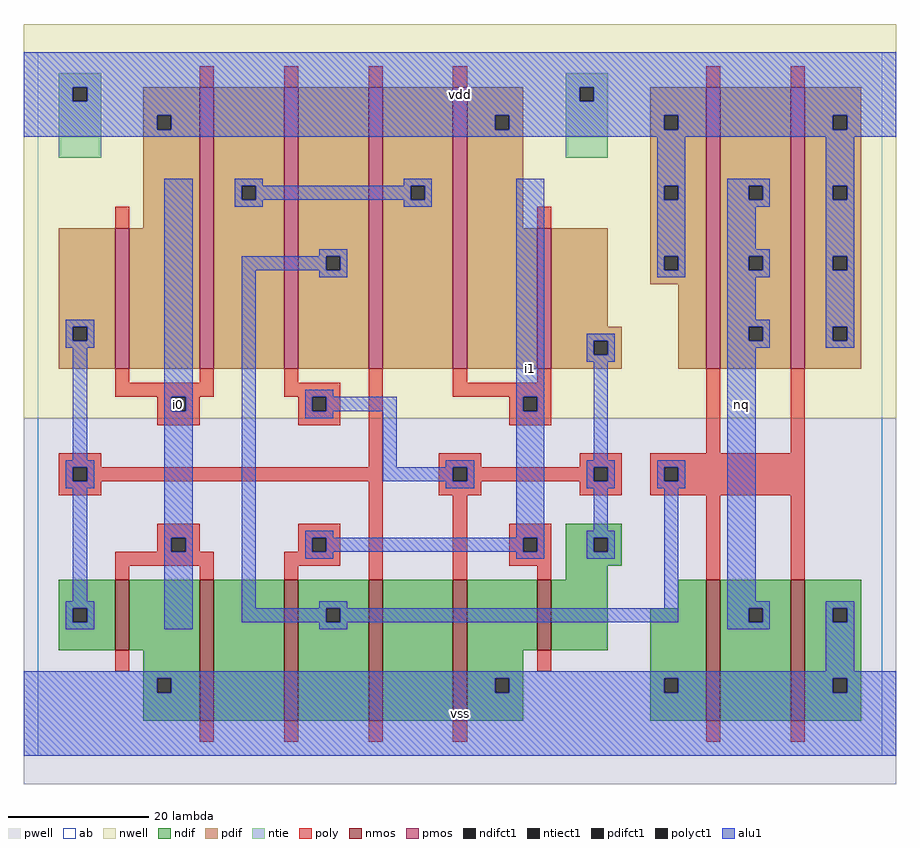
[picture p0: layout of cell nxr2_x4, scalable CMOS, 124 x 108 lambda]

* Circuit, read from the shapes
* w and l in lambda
.subckt nxr2_x4 i0 i1 nq vdd vss
M1 vss i0 n1 VSUBS nfet w=10 l=2
M2 n2 i0 vss VSUBS nfet w=20 l=2
M3 n3 i1 n2 VSUBS nfet w=20 l=2
M4 n4 n1 n3 VSUBS nfet w=20 l=2
M5 vss n5 n4 VSUBS nfet w=20 l=2
M6 n5 i1 vss VSUBS nfet w=10 l=2
M7 nq n3 vss VSUBS nfet w=20 l=2 m=2
M8 vdd i0 n1 vdd pfet w=20 l=2
M9 n6 i0 vdd vdd pfet w=40 l=2
M10 n3 n5 n6 vdd pfet w=40 l=2
M11 n6 n1 n3 vdd pfet w=40 l=2
M12 vdd i1 n6 vdd pfet w=40 l=2
M13 n5 i1 vdd vdd pfet w=20 l=2
M14 nq n3 vdd vdd pfet w=40 l=2 m=2
.ends

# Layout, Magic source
magic
tech scmos
<< ab >>
rect 0 0 120 100
<< nwell >>
rect -2 48 122 104
<< pwell >>
rect -2 -4 122 48
<< poly >>
rect 23 95 25 98
rect 35 95 37 98
rect 47 95 49 98
rect 59 95 61 98
rect 95 95 97 98
rect 107 95 109 98
rect 11 75 13 78
rect 71 75 73 78
rect 11 53 13 55
rect 23 53 25 55
rect 11 51 25 53
rect 35 53 37 55
rect 35 51 43 53
rect 17 49 19 51
rect 21 49 23 51
rect 17 47 23 49
rect 37 49 39 51
rect 41 49 43 51
rect 37 47 43 49
rect 3 41 9 43
rect 47 41 49 55
rect 59 53 61 55
rect 71 53 73 55
rect 59 51 73 53
rect 67 49 69 51
rect 71 49 73 51
rect 67 47 73 49
rect 95 43 97 55
rect 107 43 109 55
rect 3 39 5 41
rect 7 39 49 41
rect 3 37 9 39
rect 17 31 23 33
rect 17 29 19 31
rect 21 29 23 31
rect 37 31 43 33
rect 37 29 39 31
rect 41 29 43 31
rect 11 27 25 29
rect 11 25 13 27
rect 23 25 25 27
rect 35 27 43 29
rect 35 25 37 27
rect 47 25 49 39
rect 57 41 63 43
rect 77 41 83 43
rect 57 39 59 41
rect 61 39 79 41
rect 81 39 83 41
rect 57 37 63 39
rect 77 37 83 39
rect 87 41 109 43
rect 87 39 89 41
rect 91 39 109 41
rect 87 37 109 39
rect 59 25 61 37
rect 67 31 73 33
rect 67 29 69 31
rect 71 29 73 31
rect 67 27 73 29
rect 71 25 73 27
rect 95 25 97 37
rect 107 25 109 37
rect 11 12 13 15
rect 71 12 73 15
rect 23 2 25 5
rect 35 2 37 5
rect 47 2 49 5
rect 59 2 61 5
rect 95 2 97 5
rect 107 2 109 5
<< ndif >>
rect 75 31 83 33
rect 75 29 79 31
rect 81 29 83 31
rect 75 27 83 29
rect 75 25 81 27
rect 3 21 11 25
rect 3 19 5 21
rect 7 19 11 21
rect 3 15 11 19
rect 13 15 23 25
rect 15 11 23 15
rect 15 9 17 11
rect 19 9 23 11
rect 15 5 23 9
rect 25 5 35 25
rect 37 21 47 25
rect 37 19 41 21
rect 43 19 47 21
rect 37 5 47 19
rect 49 5 59 25
rect 61 15 71 25
rect 73 15 81 25
rect 91 21 95 25
rect 61 11 69 15
rect 61 9 65 11
rect 67 9 69 11
rect 61 5 69 9
rect 87 11 95 21
rect 87 9 89 11
rect 91 9 95 11
rect 87 5 95 9
rect 97 21 107 25
rect 97 19 101 21
rect 103 19 107 21
rect 97 5 107 19
rect 109 21 117 25
rect 109 19 113 21
rect 115 19 117 21
rect 109 11 117 19
rect 109 9 113 11
rect 115 9 117 11
rect 109 5 117 9
<< pdif >>
rect 15 91 23 95
rect 15 89 17 91
rect 19 89 23 91
rect 15 75 23 89
rect 3 61 11 75
rect 3 59 5 61
rect 7 59 11 61
rect 3 55 11 59
rect 13 55 23 75
rect 25 81 35 95
rect 25 79 29 81
rect 31 79 35 81
rect 25 55 35 79
rect 37 71 47 95
rect 37 69 41 71
rect 43 69 47 71
rect 37 55 47 69
rect 49 81 59 95
rect 49 79 53 81
rect 55 79 59 81
rect 49 55 59 79
rect 61 91 69 95
rect 61 89 65 91
rect 67 89 69 91
rect 61 75 69 89
rect 87 91 95 95
rect 87 89 89 91
rect 91 89 95 91
rect 87 81 95 89
rect 87 79 89 81
rect 91 79 95 81
rect 61 55 71 75
rect 73 61 81 75
rect 87 71 95 79
rect 87 69 89 71
rect 91 69 95 71
rect 87 67 95 69
rect 73 59 83 61
rect 73 57 79 59
rect 81 57 83 59
rect 73 55 83 57
rect 91 55 95 67
rect 97 81 107 95
rect 97 79 101 81
rect 103 79 107 81
rect 97 71 107 79
rect 97 69 101 71
rect 103 69 107 71
rect 97 61 107 69
rect 97 59 101 61
rect 103 59 107 61
rect 97 55 107 59
rect 109 91 117 95
rect 109 89 113 91
rect 115 89 117 91
rect 109 81 117 89
rect 109 79 113 81
rect 115 79 117 81
rect 109 71 117 79
rect 109 69 113 71
rect 115 69 117 71
rect 109 61 117 69
rect 109 59 113 61
rect 115 59 117 61
rect 109 55 117 59
<< alu1 >>
rect -2 95 122 100
rect -2 93 5 95
rect 7 93 77 95
rect 79 93 122 95
rect -2 91 122 93
rect -2 89 17 91
rect 19 89 65 91
rect 67 89 89 91
rect 91 89 113 91
rect 115 89 122 91
rect -2 88 122 89
rect 4 61 8 62
rect 4 59 5 61
rect 7 59 8 61
rect 4 58 8 59
rect 5 42 7 58
rect 18 51 22 82
rect 28 81 32 82
rect 52 81 56 82
rect 28 79 29 81
rect 31 79 53 81
rect 55 79 56 81
rect 28 78 32 79
rect 52 78 56 79
rect 40 71 44 72
rect 18 49 19 51
rect 21 49 22 51
rect 4 41 8 42
rect 4 39 5 41
rect 7 39 8 41
rect 4 38 8 39
rect 5 22 7 38
rect 18 31 22 49
rect 18 29 19 31
rect 21 29 22 31
rect 4 21 8 22
rect 4 19 5 21
rect 7 19 8 21
rect 4 18 8 19
rect 18 18 22 29
rect 29 69 41 71
rect 43 69 44 71
rect 29 21 31 69
rect 40 68 44 69
rect 38 51 42 52
rect 68 51 72 82
rect 88 81 92 88
rect 88 79 89 81
rect 91 79 92 81
rect 88 71 92 79
rect 88 69 89 71
rect 91 69 92 71
rect 88 68 92 69
rect 98 81 104 82
rect 98 79 101 81
rect 103 79 104 81
rect 98 78 104 79
rect 112 81 116 88
rect 112 79 113 81
rect 115 79 116 81
rect 98 72 102 78
rect 98 71 104 72
rect 98 69 101 71
rect 103 69 104 71
rect 98 68 104 69
rect 112 71 116 79
rect 112 69 113 71
rect 115 69 116 71
rect 98 62 102 68
rect 98 61 104 62
rect 78 59 82 60
rect 78 57 79 59
rect 81 57 82 59
rect 78 56 82 57
rect 98 59 101 61
rect 103 59 104 61
rect 98 58 104 59
rect 112 61 116 69
rect 112 59 113 61
rect 115 59 116 61
rect 112 58 116 59
rect 38 49 39 51
rect 41 49 51 51
rect 38 48 42 49
rect 49 41 51 49
rect 68 49 69 51
rect 71 49 72 51
rect 58 41 62 42
rect 49 39 59 41
rect 61 39 62 41
rect 58 38 62 39
rect 38 31 42 32
rect 68 31 72 49
rect 79 42 81 56
rect 78 41 82 42
rect 78 39 79 41
rect 81 39 82 41
rect 78 38 82 39
rect 88 41 92 42
rect 88 39 89 41
rect 91 39 92 41
rect 88 38 92 39
rect 79 32 81 38
rect 38 29 39 31
rect 41 29 69 31
rect 71 29 72 31
rect 38 28 42 29
rect 68 28 72 29
rect 78 31 82 32
rect 78 29 79 31
rect 81 29 82 31
rect 78 28 82 29
rect 40 21 44 22
rect 89 21 91 38
rect 29 19 41 21
rect 43 19 91 21
rect 98 22 102 58
rect 98 21 104 22
rect 98 19 101 21
rect 103 19 104 21
rect 40 18 44 19
rect 98 18 104 19
rect 112 21 116 22
rect 112 19 113 21
rect 115 19 116 21
rect 112 12 116 19
rect -2 11 122 12
rect -2 9 17 11
rect 19 9 65 11
rect 67 9 89 11
rect 91 9 113 11
rect 115 9 122 11
rect -2 0 122 9
<< ntie >>
rect 3 95 9 97
rect 75 95 81 97
rect 3 93 5 95
rect 7 93 9 95
rect 3 85 9 93
rect 75 93 77 95
rect 79 93 81 95
rect 75 85 81 93
<< nmos >>
rect 11 15 13 25
rect 23 5 25 25
rect 35 5 37 25
rect 47 5 49 25
rect 59 5 61 25
rect 71 15 73 25
rect 95 5 97 25
rect 107 5 109 25
<< pmos >>
rect 11 55 13 75
rect 23 55 25 95
rect 35 55 37 95
rect 47 55 49 95
rect 59 55 61 95
rect 71 55 73 75
rect 95 55 97 95
rect 107 55 109 95
<< polyct1 >>
rect 19 49 21 51
rect 39 49 41 51
rect 69 49 71 51
rect 5 39 7 41
rect 19 29 21 31
rect 39 29 41 31
rect 59 39 61 41
rect 79 39 81 41
rect 89 39 91 41
rect 69 29 71 31
<< ndifct1 >>
rect 79 29 81 31
rect 5 19 7 21
rect 17 9 19 11
rect 41 19 43 21
rect 65 9 67 11
rect 89 9 91 11
rect 101 19 103 21
rect 113 19 115 21
rect 113 9 115 11
<< ntiect1 >>
rect 5 93 7 95
rect 77 93 79 95
<< pdifct1 >>
rect 17 89 19 91
rect 5 59 7 61
rect 29 79 31 81
rect 41 69 43 71
rect 53 79 55 81
rect 65 89 67 91
rect 89 89 91 91
rect 89 79 91 81
rect 89 69 91 71
rect 79 57 81 59
rect 101 79 103 81
rect 101 69 103 71
rect 101 59 103 61
rect 113 89 115 91
rect 113 79 115 81
rect 113 69 115 71
rect 113 59 115 61
<< labels >>
rlabel polyct1 20 50 20 50 6 i0
rlabel alu1 60 6 60 6 6 vss
rlabel alu1 60 94 60 94 6 vdd
rlabel alu1 70 55 70 55 6 i1
rlabel alu1 100 50 100 50 6 nq
<< end >>
